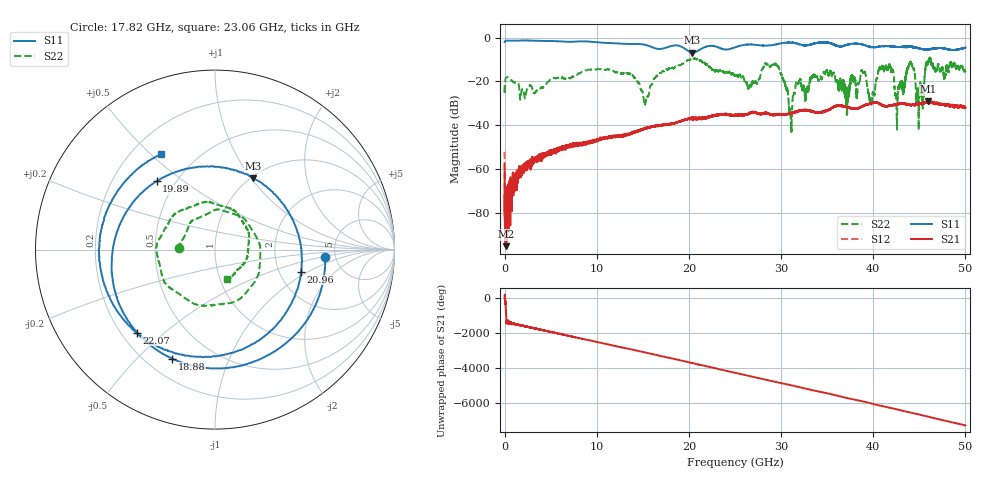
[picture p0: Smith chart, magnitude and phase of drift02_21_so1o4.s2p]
!Created with skrf (http://scikit-rf.org).
# Hz S RI R 50.0
!freq ReS11 ImS11 ReS21 ImS21 ReS12 ImS12 ReS22 ImS22
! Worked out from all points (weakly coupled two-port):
!   10001 points, 300 kHz to 50 GHz, reference 50 ohm
!   highest |S21| = -29.11 dB at 45.97 GHz (marker M1); lowest = -95.0 dB at 185.3 MHz (marker M2)
!   lowest |S11| = -6.9 dB at 20.38 GHz (marker M3), VSWR 2.64, Z = 51.4 + j51.2 ohm
!   |S11| at or under -10 dB: nowhere
!   |S22| runs from -42.9 to -9.1 dB; largest |S21 - S12| = 0.0039
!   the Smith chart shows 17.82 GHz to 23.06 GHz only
!   S11 on the Smith chart (normalised r, x): 17.82 GHz: 4.13, -0.54; 18.88 GHz: 0.30, -0.64; 19.89 GHz: 0.39, +0.40; 20.96 GHz: 2.64, -0.86; 22.07 GHz: 0.26, -0.41; 23.06 GHz: 0.32, +0.54
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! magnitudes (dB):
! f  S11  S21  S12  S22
! 300 kHz  -2.1  -57.8  -52.0  -21.8
! 185.3 MHz  -1.4  -95.0  -87.8  -18.1
! 8.335 GHz  -1.7  -48.4  -48.6  -15.8
! 15.31 GHz  -3.4  -41.6  -41.2  -29.3
! 16.67 GHz  -5.2  -40.1  -40.3  -16.9
! 17.82 GHz  -4.2  -39.9  -39.6  -14.0
! 18.88 GHz  -3.7  -38.4  -38.4  -12.6
! 19.89 GHz  -6.0  -37.1  -37.0  -10.2
! 20.38 GHz  -6.9  -37.0  -36.7  -9.9
! 20.96 GHz  -6.1  -36.8  -37.1  -9.7
! 22.07 GHz  -3.9  -36.3  -36.4  -12.8
! 23.06 GHz  -4.3  -35.1  -35.1  -15.2
! 25 GHz  -4.5  -35.3  -35.4  -17.4
! 29.5 GHz  -3.1  -35.1  -35.0  -12.6
! 31.03 GHz  -2.3  -34.6  -34.6  -34.3
! 33.34 GHz  -3.0  -33.6  -33.5  -18.0
! 39.74 GHz  -4.3  -29.9  -30.0  -28.4
! 41.67 GHz  -4.0  -31.0  -31.1  -13.4
! 44.16 GHz  -4.1  -30.8  -30.9  -11.9
! 44.85 GHz  -4.8  -30.0  -30.3  -24.4
! 45.97 GHz  -5.5  -29.1  -29.3  -11.1
! 50 GHz  -4.7  -32.2  -31.9  -15.5
